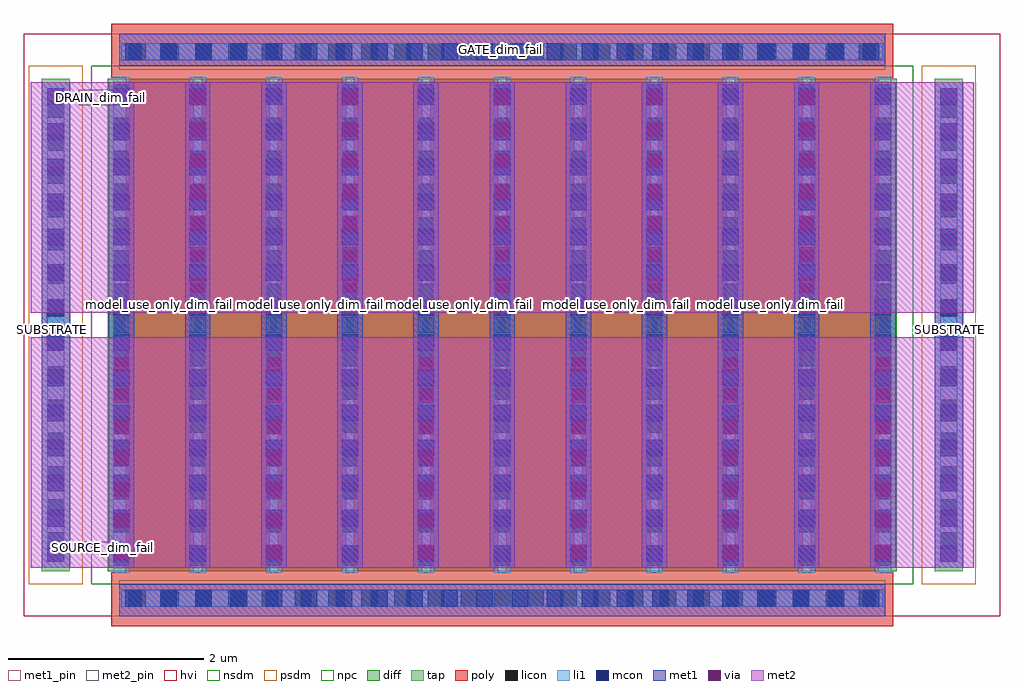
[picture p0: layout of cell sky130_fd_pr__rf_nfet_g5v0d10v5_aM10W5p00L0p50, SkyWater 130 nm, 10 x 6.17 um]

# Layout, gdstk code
import gdstk
lib = gdstk.Library(unit=1e-6, precision=1e-09)
def R(c, l, rs):  # rectangles x0, y0, x1, y1
    for r in rs: c.add(gdstk.rectangle(r[:2], r[2:], *l))
def A(c, l, x, y, w, h, nx, ny, dx, dy):  # array of equal rectangles
    R(c, l, [(x+i*dx, y+j*dy, x+i*dx+w, y+j*dy+h) for i in range(nx) for j in range(ny)])
def P(c, l, *ps):  # polygons
    for p in ps: c.add(gdstk.Polygon(p, *l))
diff = (65, 20)
tap = (65, 44)
poly = (66, 20)
licon = (66, 44)
li1 = (67, 20)
mcon = (67, 44)
met1_pin = (68, 16)
met1 = (68, 20)
via = (68, 44)
met2_pin = (69, 16)
met2 = (69, 20)
hvi = (75, 20)
nsdm = (93, 44)
psdm = (94, 20)
npc = (95, 20)

sky130_fd_pr__rf_nfet_g5 = lib.new_cell('sky130_fd_pr__rf_nfet_g5v0d10v5_aM10W5p00L0p50')
R(sky130_fd_pr__rf_nfet_g5, diff, [(0.86,0.46,8.94,5.51)])
R(sky130_fd_pr__rf_nfet_g5, tap, [(0.18,0.46,0.47,5.51), (9.33,0.46,9.62,5.51)])
P(sky130_fd_pr__rf_nfet_g5, poly, [(0.895,-0.1),(0.895,0.45),(1.04,0.45),(1.04,5.52),(1.74,5.52),(1.74,0.45),(1.82,0.45),(1.82,5.52),(2.52,5.52),(2.52,0.45),(2.6,0.45),(2.6,5.52),(3.3,5.52),(3.3,0.45),(3.38,0.45),(3.38,5.52),(4.08,5.52),(4.08,0.45),(4.16,0.45),(4.16,5.52),(4.86,5.52),(4.86,0.45),(4.94,0.45),(4.94,5.52),(5.64,5.52),(5.64,0.45),(5.72,0.45),(5.72,5.52),(6.42,5.52),(6.42,0.45),(6.5,0.45),(6.5,5.52),(7.2,5.52),(7.2,0.45),(7.28,0.45),(7.28,5.52),(7.98,5.52),(7.98,0.45),(8.06,0.45),(8.06,5.52),(0.895,5.52),(0.895,6.07),(8.905,6.07),(8.905,5.52),(8.76,5.52),(8.76,0.45),(8.905,0.45),(8.905,-0.1)])
A(sky130_fd_pr__rf_nfet_g5, licon, 1.075, 0.1, 0.17, 0.17, 23, 2, 0.34, 5.6)
A(sky130_fd_pr__rf_nfet_g5, licon, 0.915, 0.52, 0.17, 0.17, 11, 15, 0.78, 0.34)
A(sky130_fd_pr__rf_nfet_g5, licon, 0.24, 0.69, 0.17, 0.17, 1, 14, 0, 0.34)
A(sky130_fd_pr__rf_nfet_g5, licon, 9.39, 0.69, 0.17, 0.17, 1, 14, 0, 0.34)
A(sky130_fd_pr__rf_nfet_g5, li1, 0.915, 0.44, 0.17, 5.09, 11, 1, 0.78, 0)
A(sky130_fd_pr__rf_nfet_g5, li1, 0.915, 1.64, 0.17, 2.69, 11, 1, 0.78, 0)
R(sky130_fd_pr__rf_nfet_g5, li1, [(0.995,0.1,8.805,0.27), (1.035,0.1,8.765,0.27), (0.24,0.56,0.41,0.61), (9.39,0.56,9.56,0.61), (0.24,0.61,0.41,5.36), (9.39,0.61,9.56,5.36), (0.24,1.63,0.41,4.34), (9.39,1.63,9.56,4.34), (0.24,5.36,0.41,5.41), (9.39,5.36,9.56,5.41), (0.995,5.7,8.805,5.87), (1.035,5.7,8.765,5.87)])
A(sky130_fd_pr__rf_nfet_g5, mcon, 1.035, 0.1, 0.17, 0.17, 22, 2, 0.36, 5.6)
A(sky130_fd_pr__rf_nfet_g5, mcon, 0.24, 0.56, 0.17, 0.17, 1, 14, 0, 0.36)
A(sky130_fd_pr__rf_nfet_g5, mcon, 0.915, 0.56, 0.17, 0.17, 11, 14, 0.78, 0.36)
A(sky130_fd_pr__rf_nfet_g5, mcon, 9.39, 0.56, 0.17, 0.17, 1, 14, 0, 0.36)
R(sky130_fd_pr__rf_nfet_g5, met1_pin, [(0.23,2.77,0.36,3.105), (9.425,2.77,9.555,3.105), (4.665,5.74,5.095,5.865)])
A(sky130_fd_pr__rf_nfet_g5, met1, 0.87, 0.5, 0.26, 4.97, 11, 1, 0.78, 0)
A(sky130_fd_pr__rf_nfet_g5, met1, 0.87, 0.5, 0.26, 2.24, 6, 1, 1.56, 0)
A(sky130_fd_pr__rf_nfet_g5, met1, 1.65, 3.23, 0.26, 2.24, 5, 1, 1.56, 0)
R(sky130_fd_pr__rf_nfet_g5, met1, [(0.975,0,8.825,0.33), (0.18,0.5,0.475,5.47), (9.33,0.5,9.625,5.47), (0.975,5.64,8.825,5.97), (4.225,5.655,5.465,5.96)])
A(sky130_fd_pr__rf_nfet_g5, via, 0.925, 0.585, 0.15, 0.15, 6, 7, 1.56, 0.32)
A(sky130_fd_pr__rf_nfet_g5, via, 1.705, 3.315, 0.15, 0.15, 5, 7, 1.56, 0.32)
R(sky130_fd_pr__rf_nfet_g5, met2_pin, [(0.61,0.64,0.99,0.765), (0.56,5.235,1.005,5.395)])
A(sky130_fd_pr__rf_nfet_g5, met2, 0.87, 0.5, 0.26, 2.24, 6, 1, 1.56, 0)
A(sky130_fd_pr__rf_nfet_g5, met2, 1.65, 3.23, 0.26, 2.24, 5, 1, 1.56, 0)
R(sky130_fd_pr__rf_nfet_g5, met2, [(0.07,0.5,9.73,2.86), (0.14,0.55,1.38,0.855), (0.07,3.11,9.73,5.47), (0.14,5.165,1.38,5.47)])
R(sky130_fd_pr__rf_nfet_g5, hvi, [(0,0,10,5.97)])
R(sky130_fd_pr__rf_nfet_g5, nsdm, [(0.69,0.33,9.11,5.64)])
R(sky130_fd_pr__rf_nfet_g5, psdm, [(0.05,0.33,0.6,5.64), (9.2,0.33,9.75,5.64)])
R(sky130_fd_pr__rf_nfet_g5, npc, [(0.975,0,8.825,0.37), (0.975,5.6,8.825,5.97)])
sky130_fd_pr__rf_nfet_g5.add(gdstk.Label('model_use_only_dim_fail', (1.385,3.2), layer=66, texttype=83))
sky130_fd_pr__rf_nfet_g5.add(gdstk.Label('model_use_only_dim_fail', (2.17,3.2), layer=66, texttype=83))
sky130_fd_pr__rf_nfet_g5.add(gdstk.Label('model_use_only_dim_fail', (2.935,3.2), layer=66, texttype=83))
sky130_fd_pr__rf_nfet_g5.add(gdstk.Label('model_use_only_dim_fail', (3.7,3.2), layer=66, texttype=83))
sky130_fd_pr__rf_nfet_g5.add(gdstk.Label('model_use_only_dim_fail', (4.465,3.2), layer=66, texttype=83))
sky130_fd_pr__rf_nfet_g5.add(gdstk.Label('model_use_only_dim_fail', (5.27,3.2), layer=66, texttype=83))
sky130_fd_pr__rf_nfet_g5.add(gdstk.Label('model_use_only_dim_fail', (6.075,3.2), layer=66, texttype=83))
sky130_fd_pr__rf_nfet_g5.add(gdstk.Label('model_use_only_dim_fail', (6.865,3.2), layer=66, texttype=83))
sky130_fd_pr__rf_nfet_g5.add(gdstk.Label('model_use_only_dim_fail', (7.645,3.2), layer=66, texttype=83))
sky130_fd_pr__rf_nfet_g5.add(gdstk.Label('model_use_only_dim_fail', (8.385,3.2), layer=66, texttype=83))
sky130_fd_pr__rf_nfet_g5.add(gdstk.Label('GATE_dim_fail', (4.88,5.805), layer=68, texttype=5))
sky130_fd_pr__rf_nfet_g5.add(gdstk.Label('SUBSTRATE', (0.295,2.94), layer=68, texttype=5))
sky130_fd_pr__rf_nfet_g5.add(gdstk.Label('SUBSTRATE', (9.49,2.94), layer=68, texttype=5))
sky130_fd_pr__rf_nfet_g5.add(gdstk.Label('SOURCE_dim_fail', (0.8,0.705), layer=69, texttype=5))
sky130_fd_pr__rf_nfet_g5.add(gdstk.Label('DRAIN_dim_fail', (0.785,5.315), layer=69, texttype=5))

lib.write_gds('sky130_fd_pr__rf_nfet_g5v0d10v5_aM10W5p00L0p50.gds')
